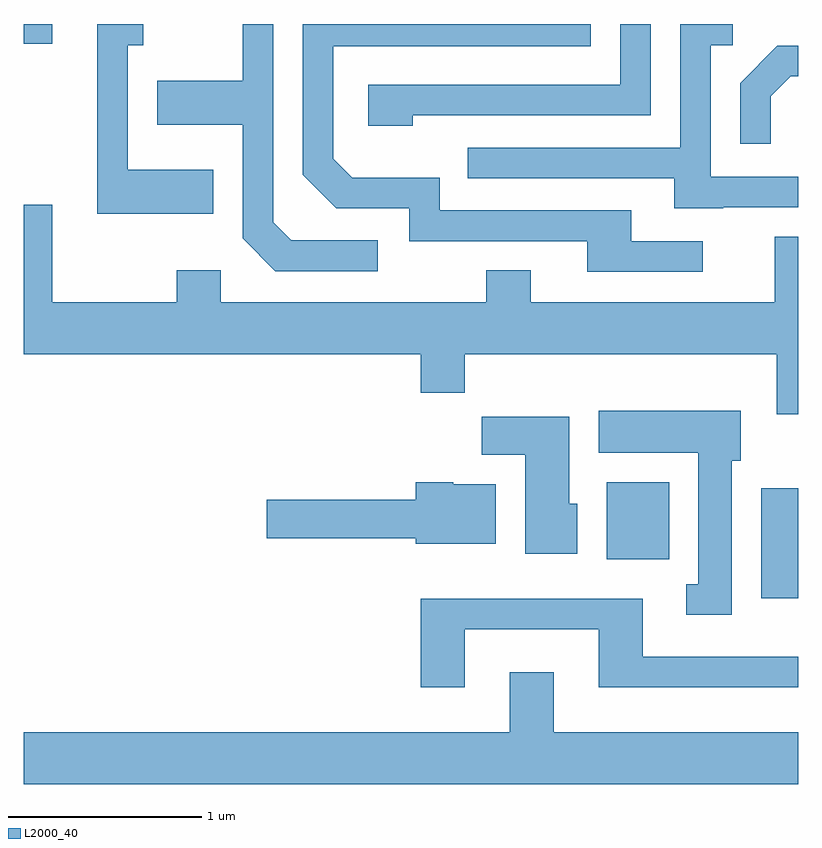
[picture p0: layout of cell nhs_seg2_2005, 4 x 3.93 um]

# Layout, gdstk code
import gdstk
lib = gdstk.Library(unit=1e-6, precision=1e-09)
def R(c, l, rs):  # rectangles x0, y0, x1, y1
    for r in rs: c.add(gdstk.rectangle(r[:2], r[2:], *l))
def P(c, l, *ps):  # polygons
    for p in ps: c.add(gdstk.Polygon(p, *l))
L2000_40 = (2000, 40)

nhs_seg2_2005 = lib.new_cell('nhs_seg2_2005')
R(nhs_seg2_2005, L2000_40, [(247.421,1044.836,247.611,1045.404), (246.621,1045.036,246.944,1045.434), (243.611,1047.701,243.759,1047.802)])
P(nhs_seg2_2005, L2000_40, [(247.225,1046.856),(247.611,1046.856),(247.611,1047.014),(247.159,1047.014),(247.159,1047.691),(247.273,1047.691),(247.273,1047.802),(247.001,1047.802),(247.001,1047.164),(245.903,1047.164),(245.903,1047.006),(246.971,1047.006),(246.971,1046.851),(247.225,1046.851)],
  [(245.619,1047.331),(246.849,1047.331),(246.849,1047.802),(246.691,1047.802),(246.691,1047.489),(245.391,1047.489),(245.391,1047.276),(245.619,1047.276)],
  [(245.438,1046.684),(244.992,1046.684),(244.899,1046.777),(244.899,1047.802),(244.741,1047.802),(244.741,1047.509),(244.301,1047.509),(244.301,1047.281),(244.741,1047.281),(244.741,1046.694),(244.909,1046.526),(245.438,1046.526)],
  [(244.589,1047.049),(244.149,1047.049),(244.149,1047.691),(244.228,1047.691),(244.228,1047.802),(243.991,1047.802),(243.991,1046.821),(244.589,1046.821)],
  [(247.118,1046.679),(246.749,1046.679),(246.749,1046.839),(245.759,1046.839),(245.759,1047.009),(245.307,1047.009),(245.209,1047.107),(245.209,1047.686),(246.539,1047.686),(246.539,1047.802),(245.051,1047.802),(245.051,1047.024),(245.224,1046.851),(245.601,1046.851),(245.601,1046.681),(246.521,1046.681),(246.521,1046.521),(247.118,1046.521)],
  [(247.469,1047.429),(247.572,1047.531),(247.611,1047.531),(247.611,1047.689),(247.504,1047.689),(247.311,1047.497),(247.311,1047.183),(247.469,1047.183)],
  [(247.611,1046.704),(247.491,1046.704),(247.491,1046.364),(246.229,1046.364),(246.229,1046.529),(246.001,1046.529),(246.001,1046.364),(244.629,1046.364),(244.629,1046.529),(244.401,1046.529),(244.401,1046.364),(243.759,1046.364),(243.759,1046.869),(243.611,1046.869),(243.611,1046.096),(245.661,1046.096),(245.661,1045.896),(245.889,1045.896),(245.889,1046.096),(247.501,1046.096),(247.501,1045.786),(247.611,1045.786)],
  [(247.269,1045.546),(247.314,1045.546),(247.314,1045.804),(246.581,1045.804),(246.581,1045.586),(247.096,1045.586),(247.096,1044.909),(247.033,1044.909),(247.033,1044.751),(247.269,1044.751)],
  [(246.469,1045.324),(246.429,1045.324),(246.429,1045.774),(245.976,1045.774),(245.976,1045.576),(246.201,1045.576),(246.201,1045.066),(246.469,1045.066)],
  [(246.049,1045.424),(245.83,1045.424),(245.83,1045.434),(245.636,1045.434),(245.636,1045.344),(244.866,1045.344),(244.866,1045.146),(245.636,1045.146),(245.636,1045.116),(246.049,1045.116)],
  [(245.889,1044.676),(246.581,1044.676),(246.581,1044.376),(247.611,1044.376),(247.611,1044.534),(246.809,1044.534),(246.809,1044.834),(245.661,1044.834),(245.661,1044.376),(245.889,1044.376)],
  [(247.611,1044.144),(246.349,1044.144),(246.349,1044.454),(246.121,1044.454),(246.121,1044.144),(243.611,1044.144),(243.611,1043.876),(247.611,1043.876)])

lib.write_gds('nhs_seg2_2005.gds')
